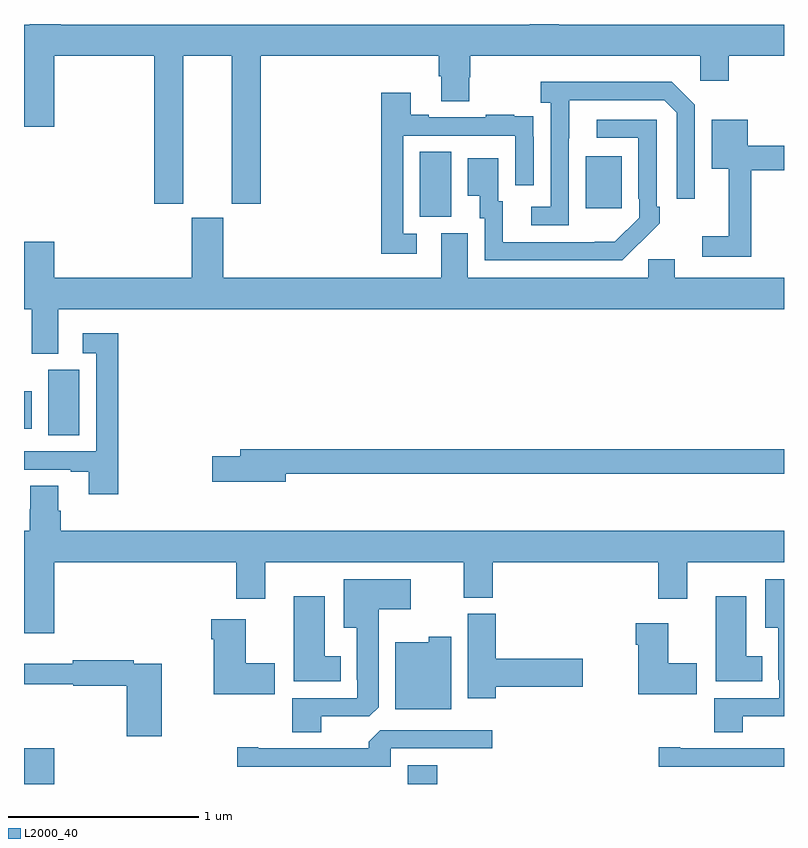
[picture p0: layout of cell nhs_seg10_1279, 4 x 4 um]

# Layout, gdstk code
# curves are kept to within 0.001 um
import gdstk
lib = gdstk.Library(unit=1e-6, precision=1e-09)
def R(c, l, rs):  # rectangles x0, y0, x1, y1
    for r in rs: c.add(gdstk.rectangle(r[:2], r[2:], *l))
def P(c, l, *ps):  # polygons
    for p in ps: c.add(gdstk.Polygon(p, *l))
L2000_40 = (2000, 40)

nhs_seg10_1279 = lib.new_cell('nhs_seg10_1279')
R(nhs_seg10_1279, L2000_40, [(177,1280.5,177.16,1280.689), (179.021,1280.5,179.174,1280.599), (177.128,1282.336,177.292,1282.68), (177,1282.371,177.04,1282.567), (179.084,1283.485,179.248,1283.828), (179.957,1283.529,180.145,1283.803)])
P(nhs_seg10_1279, L2000_40, [(177.838,1284.332),(178.094,1284.332),(178.094,1283.553),(178.247,1283.553),(178.247,1284.332),(179.183,1284.332),(179.183,1284.226),(179.195,1284.226),(179.195,1284.094),(179.343,1284.094),(179.343,1284.219),(179.348,1284.219),(179.348,1284.332),(180.558,1284.332),(180.558,1284.201),(180.71,1284.201),(180.71,1284.332),(181,1284.332),(181,1284.496),(179.814,1284.496),(179.814,1284.5),(179.663,1284.5),(179.663,1284.496),(177.194,1284.496),(177.194,1284.5),(177.029,1284.5),(177.029,1284.496),(177,1284.496),(177,1283.958),(177.16,1283.958),(177.16,1284.332),(177.686,1284.332),(177.686,1283.553),(177.838,1283.553)],
  [(179.868,1283.899),(179.869,1284.099),(180.369,1284.099),(180.435,1284.033),(180.435,1283.58),(180.531,1283.58),(180.531,1284.075),(180.41,1284.196),(179.721,1284.196),(179.721,1284.086),(179.772,1284.086),(179.772,1283.538),(179.67,1283.538),(179.67,1283.442),(179.868,1283.442)],
  [(179.068,1283.397),(178.995,1283.397),(178.995,1283.913),(179.586,1283.913),(179.586,1283.652),(179.682,1283.652),(179.682,1283.906),(179.681,1283.906),(179.681,1284.015),(179.579,1284.015),(179.579,1284.022),(179.431,1284.022),(179.431,1284.009),(179.131,1284.009),(179.131,1284.022),(179.035,1284.022),(179.035,1284.139),(178.879,1284.139),(178.879,1283.292),(179.068,1283.292)],
  [(180.239,1283.347),(180.24,1283.346),(180.345,1283.451),(180.345,1283.539),(180.33,1283.539),(180.33,1283.997),(180.015,1283.997),(180.015,1283.901),(180.234,1283.901),(180.234,1283.581),(180.237,1283.581),(180.237,1283.481),(180.109,1283.353),(179.521,1283.352),(179.521,1283.568),(179.497,1283.568),(179.497,1283.794),(179.336,1283.794),(179.336,1283.597),(179.399,1283.597),(179.399,1283.478),(179.424,1283.478),(179.424,1283.256),(180.148,1283.256)],
  [(180.827,1283.731),(181,1283.731),(181,1283.86),(180.808,1283.86),(180.808,1283.995),(180.62,1283.995),(180.62,1283.738),(180.71,1283.738),(180.71,1283.383),(180.57,1283.383),(180.57,1283.274),(180.827,1283.274)],
  [(177.181,1283),(181,1283),(181,1283.164),(180.424,1283.164),(180.424,1283.262),(180.285,1283.262),(180.285,1283.164),(179.335,1283.164),(179.335,1283.4),(179.195,1283.4),(179.195,1283.164),(178.048,1283.164),(178.048,1283.481),(177.884,1283.481),(177.884,1283.164),(177.16,1283.164),(177.16,1283.353),(177,1283.353),(177,1283),(177.041,1283),(177.041,1282.765),(177.181,1282.765)],
  [(177.497,1282.873),(177.309,1282.873),(177.309,1282.767),(177.381,1282.767),(177.381,1282.251),(177,1282.251),(177,1282.155),(177.245,1282.155),(177.245,1282.143),(177.341,1282.143),(177.341,1282.026),(177.497,1282.026)],
  [(178.378,1282.134),(181,1282.134),(181,1282.262),(178.139,1282.262),(178.139,1282.226),(177.99,1282.226),(177.99,1282.091),(178.378,1282.091)],
  [(177.16,1281.668),(178.118,1281.668),(178.118,1281.474),(178.27,1281.474),(178.27,1281.668),(179.315,1281.668),(179.315,1281.481),(179.468,1281.481),(179.468,1281.668),(180.338,1281.668),(180.338,1281.474),(180.49,1281.474),(180.49,1281.668),(181,1281.668),(181,1281.832),(177.194,1281.832),(177.194,1281.938),(177.181,1281.938),(177.181,1282.07),(177.034,1282.07),(177.034,1281.945),(177.029,1281.945),(177.029,1281.832),(177,1281.832),(177,1281.294),(177.16,1281.294)],
  [(180.784,1280.856),(181,1280.856),(181,1281.577),(180.902,1281.577),(180.902,1281.323),(180.971,1281.323),(180.971,1281.049),(180.975,1281.049),(180.975,1280.952),(180.632,1280.952),(180.632,1280.773),(180.784,1280.773)],
  [(178.564,1280.856),(178.818,1280.856),(178.867,1280.905),(178.867,1281.419),(179.035,1281.419),(179.035,1281.577),(178.682,1281.577),(178.682,1281.323),(178.751,1281.323),(178.751,1281.049),(178.755,1281.049),(178.755,1280.952),(178.412,1280.952),(178.412,1280.773),(178.564,1280.773)],
  [(178.666,1281.172),(178.582,1281.172),(178.582,1281.487),(178.421,1281.487),(178.421,1281.041),(178.666,1281.041)],
  [(180.886,1281.172),(180.802,1281.172),(180.802,1281.487),(180.641,1281.487),(180.641,1281.041),(180.886,1281.041)],
  [(179.483,1281.011),(179.941,1281.011),(179.941,1281.158),(179.483,1281.158),(179.483,1281.396),(179.336,1281.396),(179.336,1280.952),(179.483,1280.952)],
  [(178.321,1281.135),(178.168,1281.135),(178.168,1281.367),(177.986,1281.367),(177.986,1281.263),(177.998,1281.263),(177.998,1280.972),(178.321,1280.972)],
  [(180.541,1281.135),(180.391,1281.135),(180.391,1281.346),(180.221,1281.346),(180.221,1281.233),(180.233,1281.233),(180.233,1280.972),(180.541,1280.972)],
  [(179.248,1281.274),(179.13,1281.274),(179.13,1281.247),(178.955,1281.247),(178.955,1280.894),(179.248,1280.894)],
  [(177.725,1281.132),(177.578,1281.132),(177.578,1281.152),(177.256,1281.152),(177.256,1281.133),(177,1281.133),(177,1281.024),(177.258,1281.024),(177.258,1281.016),(177.542,1281.016),(177.542,1280.751),(177.725,1280.751)],
  [(178.929,1280.688),(179.464,1280.688),(179.464,1280.784),(178.875,1280.784),(178.814,1280.722),(178.814,1280.688),(178.234,1280.688),(178.234,1280.693),(178.122,1280.693),(178.122,1280.592),(178.929,1280.592)],
  [(181,1280.688),(180.454,1280.688),(180.454,1280.693),(180.342,1280.693),(180.342,1280.592),(181,1280.592)])

lib.write_gds('nhs_seg10_1279.gds')
